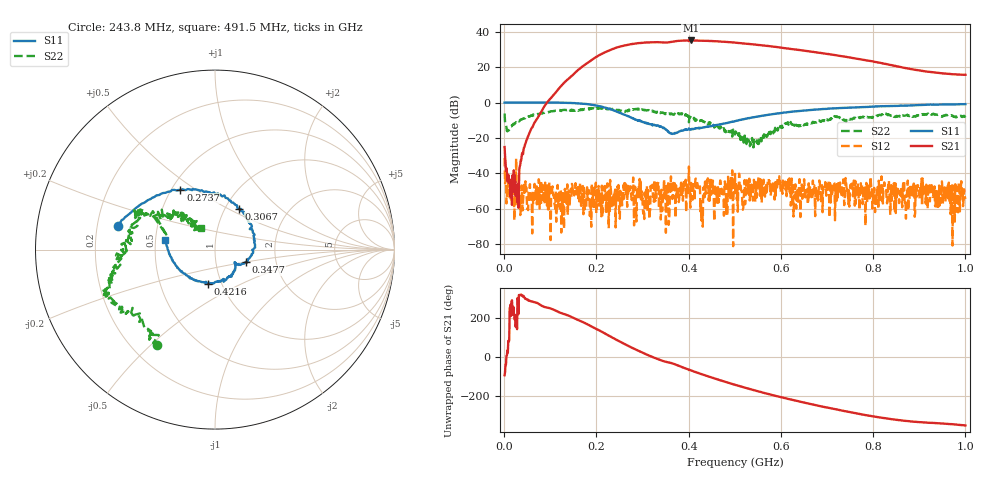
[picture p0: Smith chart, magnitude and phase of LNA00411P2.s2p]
! Created with skrf 1.9.0 (http://scikit-rf.org).
# Hz S RI R 50.0
!freq ReS11 ImS11 ReS21 ImS21 ReS12 ImS12 ReS22 ImS22
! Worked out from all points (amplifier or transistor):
!   1001 points, 1 MHz to 1 GHz, reference 50 ohm
!   highest |S21| = 35.0 dB at 404.6 MHz (marker M1)
!   |S21| within 3 dB of that: 258 MHz to 568.1 MHz (310.1 MHz wide, 75.1 % of centre)
!   unconditionally stable (mu >= 1): 224.3 MHz to 293.6 MHz; 293.8 MHz to 400.5 MHz; 400.7 MHz to end of sweep (the widest 3 of 46)
!   at 166.8 MHz: K = 3.16, MAG = 31.1 dB, |S12| = -58.3 dB
!   at 500.5 MHz: K = 1.20, MAG = 34.3 dB, |S12| = -40.3 dB
!   at 1 GHz: K = 6.39, MAG = 24.0 dB, |S12| = -54.4 dB
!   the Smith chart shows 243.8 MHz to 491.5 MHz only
!   S11 on the Smith chart (normalised r, x): 243.8 MHz: 0.29, +0.11; 273.7 MHz: 0.56, +0.43; 306.7 MHz: 1.16, +0.56; 347.7 MHz: 1.40, -0.20; 421.6 MHz: 0.86, -0.34; 491.5 MHz: 0.56, +0.07
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1000000  0.9921 0.0154  -0.00197 -0.0554  -0.0268 0.00639  0.3113 0.3762
1.08892e8  0.5327 -0.8418  -0.8134 -1.536  0.000993 0.001  0.4211 -0.3847
1.67833e8  -0.2146 -0.9048  -9.937 -0.564  0.00225 -0.000947  0.0338 -0.6376
2.09791e8  -0.6567 -0.4019  -15.64 16.81  0.00177 -0.000178  -0.203 -0.6564
2.43757e8  -0.542 0.133  0.5228 35.48  0.00043 0.00144  -0.3238 -0.5326
2.73727e8  -0.1927 0.3321  26.78 34.86  -0.00431 0.000509  -0.5302 -0.3172
3.06694e8  0.1326 0.2263  47.3 13.72  8.15e-05 -0.00105  -0.5853 -0.1844
3.34666e8  0.2235 0.0115  49.35 -9.581  -0.00327 0.00474  -0.52 -0.0357
3.47653e8  0.1711 -0.0681  46.03 -17.87  -0.00249 0.000836  -0.4988 0.024
3.75625e8  0.1121 -0.0861  41.14 -35.94  0.000195 -0.00257  -0.4228 0.191
4.04596e8  0.0392 -0.1702  21.8 -52.02  0.00283 0.00268  -0.3364 0.188
4.21579e8  -0.0378 -0.1897  8.377 -54.99  -0.000439 0.00484  -0.2256 0.2009
4.55545e8  -0.1906 -0.1219  -16.66 -50.99  0.000316 -0.000316  -0.1226 0.1528
4.91509e8  -0.2766 0.0545  -35.14 -35.56  0.00739 0.000561  -0.0768 0.1221
5.005e8  -0.2786 0.1065  -38.24 -30.9  0.0077 -0.00588  -0.1076 0.065
5.4046e8  -0.2272 0.3068  -42.54 -9.208  0.00151 -0.00409  -0.0533 -0.00771
5.88412e8  -0.0397 0.4794  -35.29 11.38  0.00123 -0.00162  -0.1478 -0.0824
6.26374e8  0.1358 0.5383  -24.75 20.13  0.00221 -0.00138  -0.1993 -0.1218
6.67333e8  0.3323 0.5235  -12.97 23.6  -3.31e-05 -0.00268  -0.2625 -0.0593
7.51249e8  0.6199 0.3657  3.738 18.16  -0.00431 0.00218  -0.3397 0.0388
8.34166e8  0.7793 0.1377  8.295 8.285  -0.00395 -0.00484  -0.439 0.1241
1e9  0.8087 -0.3973  5.957 1.122  0.000352 0.00187  -0.1341 0.3939
